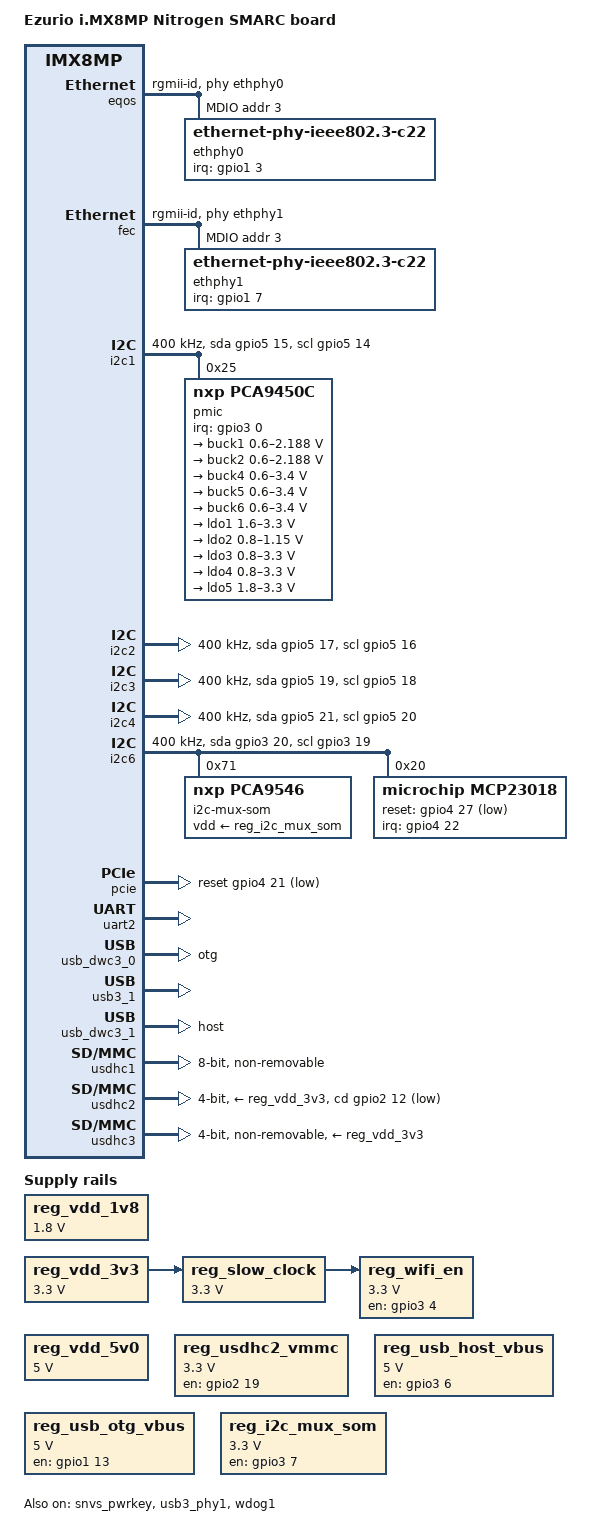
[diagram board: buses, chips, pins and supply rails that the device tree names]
// SPDX-License-Identifier: (GPL-2.0+ OR MIT)
/*
 * Copyright 2023 Ezurio LLC
 */

#include <dt-bindings/phy/phy-imx8-pcie.h>
#include <dt-bindings/usb/pd.h>
#include "imx8mp.dtsi"

/ {
	model = "Ezurio i.MX8MP Nitrogen SMARC board";
	compatible = "summit,imx8mp-nitrogen-smarc", "fsl,imx8mp";

	aliases {
		ethernet0 = &eqos;
		ethernet1 = &fec;
	};

	chosen {
		stdout-path = "serial1:115200n8";
	};

	reg_vdd_1v8: regulator-vdd-1v8 {
		compatible = "regulator-fixed";
		regulator-name = "reg_vdd_1v8";

		regulator-min-microvolt = <1800000>;
		regulator-max-microvolt = <1800000>;
	};

	reg_vdd_3v3: regulator-vdd-3v3 {
		compatible = "regulator-fixed";
		regulator-name = "reg_vdd_3v3";

		regulator-min-microvolt = <3300000>;
		regulator-max-microvolt = <3300000>;
	};

	reg_vdd_5v0: regulator-vdd-5v0 {
		compatible = "regulator-fixed";
		regulator-name = "reg_vdd_5v0";

		regulator-min-microvolt = <5000000>;
		regulator-max-microvolt = <5000000>;
	};

	reg_usdhc2_vmmc: regulator-usdhc2-vmmc {
		compatible = "regulator-fixed";

		regulator-name = "reg_usdhc2_vmmc";

		regulator-min-microvolt = <3300000>;
		regulator-max-microvolt = <3300000>;

		pinctrl-names = "default";
		pinctrl-0 = <&pinctrl_reg_usdhc2_vmmc>;
		gpio = <&gpio2 19 GPIO_ACTIVE_HIGH>;
		enable-active-high;
	};

	reg_usb_host_vbus: regulator-usb-host-vbus {
		compatible = "regulator-fixed";
		regulator-name = "usb_host_vbus";

		regulator-min-microvolt = <5000000>;
		regulator-max-microvolt = <5000000>;

		pinctrl-names = "default";
		pinctrl-0 = <&pinctrl_reg_usb_host_vbus>;
		gpio = <&gpio3 6 GPIO_ACTIVE_HIGH>;
		enable-active-high;
	};

	reg_usb_otg_vbus: regulator-usb-otg-vbus {
		compatible = "regulator-fixed";
		regulator-name = "usb_otg_vbus";

		regulator-min-microvolt = <5000000>;
		regulator-max-microvolt = <5000000>;

		pinctrl-names = "default";
		pinctrl-0 = <&pinctrl_reg_usb_otg_vbus>;
		gpio = <&gpio1 13 GPIO_ACTIVE_HIGH>;
		enable-active-high;
	};

	reg_slow_clock: regulator-slow-clock {
		compatible = "regulator-fixed-clock";
		regulator-name = "reg_slow_clock";

		regulator-min-microvolt = <3300000>;
		regulator-max-microvolt = <3300000>;

		vin-supply = <&reg_vdd_3v3>;

		assigned-clocks = <&clk IMX8MP_CLK_CLKOUT1_SEL>,
			<&clk IMX8MP_CLK_CLKOUT1>;
		assigned-clock-parents = <&clk IMX8MP_CLK_32K>;
		assigned-clock-rates = <0>, <32768>;
		clocks = <&clk IMX8MP_CLK_CLKOUT1>;

		startup-delay-us = <1000>;
	};

	reg_wifi_en: regulator-wifi-en {
		compatible = "regulator-fixed";
		regulator-name = "reg_wifi_en";

		regulator-min-microvolt = <3300000>;
		regulator-max-microvolt = <3300000>;

		vin-supply = <&reg_slow_clock>;

		pinctrl-names = "default";
		pinctrl-0 = <&pinctrl_reg_wifi_en>;
		gpio = <&gpio3 4 GPIO_ACTIVE_HIGH>;
		enable-active-high;
	};

	reg_i2c_mux_som: regulator-i2c-mux-som {
		compatible = "regulator-fixed";

		regulator-name = "reg_i2c_mux_som";
		regulator-min-microvolt = <3300000>;
		regulator-max-microvolt = <3300000>;

		pinctrl-names = "default";
		pinctrl-0 = <&pinctrl_i2c_mux_som>;
		gpio = <&gpio3 7 GPIO_ACTIVE_HIGH>;

		enable-active-high;
	};

	sound-xcvr {
		compatible = "fsl,imx-audio-xcvr";
		model = "imx-audio-xcvr";
		cpu-dai = <&xcvr>;
	};

	display-subsystem {
		status = "disabled";
	};
};

&A53_0 {
	cpu-supply = <&buck2>;
};

&A53_1 {
	cpu-supply = <&buck2>;
};

&A53_2 {
	cpu-supply = <&buck2>;
};

&A53_3 {
	cpu-supply = <&buck2>;
};

&ecspi1 {
	#address-cells = <1>;
	#size-cells = <0>;
	pinctrl-names = "default";
	pinctrl-0 = <&pinctrl_ecspi1>;
	cs-gpios = <&gpio5 9 GPIO_ACTIVE_LOW>, <&gpio1 1 GPIO_ACTIVE_LOW>;
};

&ecspi2 {
	#address-cells = <1>;
	#size-cells = <0>;
	pinctrl-names = "default";
	pinctrl-0 = <&pinctrl_ecspi2>;
	cs-gpios = <&gpio5 13 GPIO_ACTIVE_LOW>, <&gpio4 20 GPIO_ACTIVE_LOW>;
};

&eqos {
	pinctrl-names = "default";
	pinctrl-0 = <&pinctrl_eqos>;

	phy-mode = "rgmii-id";
	phy-handle = <&ethphy0>;

	status = "okay";

	mdio {
		compatible = "snps,dwmac-mdio";

		reset-gpios = <&gpio3 16 GPIO_ACTIVE_LOW>;
		reset-delay-us = <150000>;
		reset-post-delay-us = <100>;

		#address-cells = <1>;
		#size-cells = <0>;

		ethphy0: ethernet-phy@3 {
			reg = <3>;
			compatible = "ethernet-phy-ieee802.3-c22";
			interrupts-extended = <&gpio1 3 IRQ_TYPE_LEVEL_LOW>;
		};
	};
};

&fec {
	pinctrl-names = "default";
	pinctrl-0 = <&pinctrl_fec>;

	phy-mode = "rgmii-id";
	phy-handle = <&ethphy1>;

	status = "okay";

	mdio {
		reset-gpios = <&gpio1 12 GPIO_ACTIVE_LOW>;
		reset-delay-us = <150000>;
		reset-post-delay-us = <100>;

		#address-cells = <1>;
		#size-cells = <0>;

		ethphy1: ethernet-phy@3 {
			reg = <3>;			
			compatible = "ethernet-phy-ieee802.3-c22";
			interrupts-extended = <&gpio1 7 IRQ_TYPE_LEVEL_LOW>;
		};
	};
};

&flexcan1 {
	pinctrl-names = "default";
	pinctrl-0 = <&pinctrl_flexcan1>;
};

&flexcan2 {
	pinctrl-names = "default";
	pinctrl-0 = <&pinctrl_flexcan2>;
};


&i2c1 {
	pinctrl-names = "default", "gpio";
	pinctrl-0 = <&pinctrl_i2c1>;
	pinctrl-1 = <&pinctrl_i2c1_1>;
	scl-gpios = <&gpio5 14 GPIO_OPEN_DRAIN>;
	sda-gpios = <&gpio5 15 GPIO_OPEN_DRAIN>;

	clock-frequency = <400000>;

	status = "okay";

	pmic: pca9450@25 {
		/* PMIC PCA9450  */
		compatible = "nxp,pca9450c";
		reg = <0x25>;

		pinctrl-names = "default";
		pinctrl-0 = <&pinctrl_pmic>;
		interrupts-extended = <&gpio3 0 IRQ_TYPE_LEVEL_LOW>;

		regulators {
			buck1: BUCK1 {
				regulator-name = "BUCK1";
				regulator-min-microvolt = <600000>;
				regulator-max-microvolt = <2187500>;
				regulator-boot-on;
				regulator-always-on;
				regulator-ramp-delay = <3125>;
			};

			buck2: BUCK2 {
				regulator-name = "BUCK2";
				regulator-min-microvolt = <600000>;
				regulator-max-microvolt = <2187500>;
				regulator-limit-microvolt = <1025000>;
				regulator-boot-on;
				regulator-always-on;
				regulator-ramp-delay = <3125>;
				nxp,dvs-run-voltage = <950000>;
				nxp,dvs-standby-voltage = <850000>;
			};

			buck4: BUCK4 {
				regulator-name = "BUCK4";
				regulator-min-microvolt = <600000>;
				regulator-max-microvolt = <3400000>;
				regulator-boot-on;
				regulator-always-on;
			};

			buck5: BUCK5 {
				regulator-name = "BUCK5";
				regulator-min-microvolt = <600000>;
				regulator-max-microvolt = <3400000>;
				regulator-boot-on;
				regulator-always-on;
			};

			buck6: BUCK6 {
				regulator-name = "BUCK6";
				regulator-min-microvolt = <600000>;
				regulator-max-microvolt = <3400000>;
				regulator-boot-on;
				regulator-always-on;
			};

			ldo1: LDO1 {
				regulator-name = "LDO1";
				regulator-min-microvolt = <1600000>;
				regulator-max-microvolt = <3300000>;
				regulator-boot-on;
				regulator-always-on;
			};

			ldo2: LDO2 {
				regulator-name = "LDO2";
				regulator-min-microvolt = <800000>;
				regulator-max-microvolt = <1150000>;
				regulator-boot-on;
				regulator-always-on;
			};

			ldo3: LDO3 {
				regulator-name = "LDO3";
				regulator-min-microvolt = <800000>;
				regulator-max-microvolt = <3300000>;
				regulator-boot-on;
				regulator-always-on;
			};

			ldo4: LDO4 {
				regulator-name = "LDO4";
				regulator-min-microvolt = <800000>;
				regulator-max-microvolt = <3300000>;
				regulator-boot-on;
				regulator-always-on;
			};

			ldo5: LDO5 {
				regulator-name = "LDO5";
				regulator-min-microvolt = <1800000>;
				regulator-max-microvolt = <3300000>;
				regulator-boot-on;
				regulator-always-on;
			};
		};
	};
};

/* I2C_GP */
&i2c2 {
	pinctrl-names = "default", "gpio";
	pinctrl-0 = <&pinctrl_i2c2>;
	pinctrl-1 = <&pinctrl_i2c2_1>;
	scl-gpios = <&gpio5 16 GPIO_OPEN_DRAIN>;
	sda-gpios = <&gpio5 17 GPIO_OPEN_DRAIN>;

	clock-frequency = <400000>;
};

/* I2C_LCD */
&i2c3 {
	pinctrl-names = "default", "gpio";
	pinctrl-0 = <&pinctrl_i2c3>;
	pinctrl-1 = <&pinctrl_i2c3_1>;
	scl-gpios = <&gpio5 18 GPIO_OPEN_DRAIN>;
	sda-gpios = <&gpio5 19 GPIO_OPEN_DRAIN>;

	clock-frequency = <400000>;
};

/* I2C_PM */
&i2c4 {
	pinctrl-names = "default", "gpio";
	pinctrl-0 = <&pinctrl_i2c4>;
	pinctrl-1 = <&pinctrl_i2c4_1>;
	scl-gpios = <&gpio5 20 GPIO_OPEN_DRAIN>;
	sda-gpios = <&gpio5 21 GPIO_OPEN_DRAIN>;

	clock-frequency = <400000>;
};

&i2c6 {
	pinctrl-names = "default", "gpio";
	pinctrl-0 = <&pinctrl_i2c6>;
	pinctrl-1 = <&pinctrl_i2c6_1>;
	scl-gpios = <&gpio3 19 GPIO_OPEN_DRAIN>;
	sda-gpios = <&gpio3 20 GPIO_OPEN_DRAIN>;

	clock-frequency = <400000>;

	status = "okay";

	i2c-mux-som@71 {
		compatible = "nxp,pca9546";
		reg = <0x71>;

		vdd-supply = <&reg_i2c_mux_som>;

		#address-cells = <1>;
		#size-cells = <0>;

		i2c6a: i2c6@0 {
			/* I2C_CAM0 */
			reg = <0>;

			#address-cells = <1>;
			#size-cells = <0>;
		};

		i2c6b: i2c6@1 {
			/* I2C_CAM1 */
			reg = <1>;
			#address-cells = <1>;
			#size-cells = <0>;
		};
	};

	mcp23018: gpio@20 {
		compatible = "microchip,mcp23018";
		reg = <0x20>;
		
		gpio-controller;
		#gpio-cells = <2>;
		
		interrupts-extended = <&gpio4 22 IRQ_TYPE_LEVEL_LOW>;
		interrupt-controller;
		#interrupt-cells = <2>;
		
		microchip,irq-mirror;
		
		pinctrl-names = "default";
		pinctrl-0 = <&pinctrl_i2c6_mcp23018>, <&mcp_pullups>;
		reset-gpios = <&gpio4 27 GPIO_ACTIVE_LOW>;

		mcp_pullups: pinmux {
			pins =  "gpio0", "gpio2", "gpio3",
				"gpio5", "gpio6", "gpio7",
				"gpio8", "gpio9", "gpio10", "gpio11",
				"gpio12", "gpio13", "gpio14", "gpio15";
			bias-pull-up;
		};
	};

};

&iomuxc {
	pinctrl_ecspi1: ecspi1grp {
		fsl,pins = <
			MX8MP_IOMUXC_ECSPI1_SCLK__ECSPI1_SCLK		0x82
			MX8MP_IOMUXC_ECSPI1_MOSI__ECSPI1_MOSI		0x82
			MX8MP_IOMUXC_ECSPI1_MISO__ECSPI1_MISO		0x82
			MX8MP_IOMUXC_ECSPI1_SS0__GPIO5_IO09		0x143
			MX8MP_IOMUXC_GPIO1_IO01__GPIO1_IO01		0x143
		>;
	};

	pinctrl_ecspi2: ecspi2grp {
		fsl,pins = <
			MX8MP_IOMUXC_ECSPI2_SCLK__ECSPI2_SCLK		0x82
			MX8MP_IOMUXC_ECSPI2_MOSI__ECSPI2_MOSI		0x82
			MX8MP_IOMUXC_ECSPI2_MISO__ECSPI2_MISO		0x82
			MX8MP_IOMUXC_ECSPI2_SS0__GPIO5_IO13		0x143
			MX8MP_IOMUXC_SAI1_MCLK__GPIO4_IO20		0x143
		>;
	};

	pinctrl_eqos: eqosgrp {
		fsl,pins = <
			MX8MP_IOMUXC_ENET_MDC__ENET_QOS_MDC		0x0
			MX8MP_IOMUXC_ENET_MDIO__ENET_QOS_MDIO		0xa0
			MX8MP_IOMUXC_ENET_TX_CTL__ENET_QOS_RGMII_TX_CTL	0x1f
			MX8MP_IOMUXC_ENET_TXC__CCM_ENET_QOS_CLOCK_GENERATE_TX_CLK	0x1f
			MX8MP_IOMUXC_ENET_TD0__ENET_QOS_RGMII_TD0	0x1f
			MX8MP_IOMUXC_ENET_TD1__ENET_QOS_RGMII_TD1	0x1f
			MX8MP_IOMUXC_ENET_TD2__ENET_QOS_RGMII_TD2	0x1f
			MX8MP_IOMUXC_ENET_TD3__ENET_QOS_RGMII_TD3	0x1f

			MX8MP_IOMUXC_ENET_RX_CTL__ENET_QOS_RGMII_RX_CTL	0x91
			MX8MP_IOMUXC_ENET_RXC__CCM_ENET_QOS_CLOCK_GENERATE_RX_CLK	0x91
			MX8MP_IOMUXC_ENET_RD0__ENET_QOS_RGMII_RD0	0x91
			MX8MP_IOMUXC_ENET_RD1__ENET_QOS_RGMII_RD1	0x91
			MX8MP_IOMUXC_ENET_RD2__ENET_QOS_RGMII_RD2	0x91
			MX8MP_IOMUXC_ENET_RD3__ENET_QOS_RGMII_RD3	0x91
			MX8MP_IOMUXC_NAND_READY_B__GPIO3_IO16		0x100
			MX8MP_IOMUXC_GPIO1_IO03__GPIO1_IO03		0x140
		>;
	};

	pinctrl_fec: fecgrp {
		fsl,pins = <
			MX8MP_IOMUXC_SAI1_RXD2__ENET1_MDC		0x0
			MX8MP_IOMUXC_SAI1_RXD3__ENET1_MDIO		0xa0
			MX8MP_IOMUXC_SAI1_TXD4__ENET1_RGMII_TX_CTL	0x1f
			MX8MP_IOMUXC_SAI1_TXD5__ENET1_RGMII_TXC		0x1f
			MX8MP_IOMUXC_SAI1_TXD0__ENET1_RGMII_TD0		0x1f
			MX8MP_IOMUXC_SAI1_TXD1__ENET1_RGMII_TD1		0x1f
			MX8MP_IOMUXC_SAI1_TXD2__ENET1_RGMII_TD2		0x1f
			MX8MP_IOMUXC_SAI1_TXD3__ENET1_RGMII_TD3		0x1f

			MX8MP_IOMUXC_SAI1_TXFS__ENET1_RGMII_RX_CTL	0x91
			MX8MP_IOMUXC_SAI1_TXC__ENET1_RGMII_RXC		0x91
			MX8MP_IOMUXC_SAI1_RXD4__ENET1_RGMII_RD0		0x91
			MX8MP_IOMUXC_SAI1_RXD5__ENET1_RGMII_RD1		0x91
			MX8MP_IOMUXC_SAI1_RXD6__ENET1_RGMII_RD2		0x91
			MX8MP_IOMUXC_SAI1_RXD7__ENET1_RGMII_RD3		0x91
			MX8MP_IOMUXC_GPIO1_IO12__GPIO1_IO12		0x100
			MX8MP_IOMUXC_GPIO1_IO07__GPIO1_IO07		0x1c0
		>;
	};

	pinctrl_flexcan1: flexcan1grp {
		fsl,pins = <
			MX8MP_IOMUXC_SAI5_RXD2__CAN1_RX			0x154
			MX8MP_IOMUXC_SAI5_RXD1__CAN1_TX			0x154
		>;
	};

	pinctrl_flexcan2: flexcan2grp {
		fsl,pins = <
			MX8MP_IOMUXC_SAI5_MCLK__CAN2_RX			0x154
			MX8MP_IOMUXC_SAI5_RXD3__CAN2_TX			0x154
		>;
	};

	pinctrl_i2c1: i2c1grp {
		fsl,pins = <
			MX8MP_IOMUXC_I2C1_SCL__I2C1_SCL		0x400001c3
			MX8MP_IOMUXC_I2C1_SDA__I2C1_SDA		0x400001c3
		>;
	};

	pinctrl_i2c1_1: i2c1-1grp {
		fsl,pins = <
			MX8MP_IOMUXC_I2C1_SCL__GPIO5_IO14	0x1c3
			MX8MP_IOMUXC_I2C1_SDA__GPIO5_IO15	0x1c3
		>;
	};

	pinctrl_i2c2: i2c2grp {
		fsl,pins = <
			MX8MP_IOMUXC_I2C2_SCL__I2C2_SCL		0x400001c3
			MX8MP_IOMUXC_I2C2_SDA__I2C2_SDA		0x400001c3
		>;
	};

	pinctrl_i2c2_1: i2c2-1grp {
		fsl,pins = <
			MX8MP_IOMUXC_I2C2_SCL__GPIO5_IO16       0x1c3
			MX8MP_IOMUXC_I2C2_SDA__GPIO5_IO17       0x1c3
		>;
	};

	pinctrl_i2c3: i2c3grp {
		fsl,pins = <
			MX8MP_IOMUXC_I2C3_SCL__I2C3_SCL		0x400001c3
			MX8MP_IOMUXC_I2C3_SDA__I2C3_SDA		0x400001c3
		>;
	};

	pinctrl_i2c3_1: i2c3-1grp {
		fsl,pins = <
			MX8MP_IOMUXC_I2C3_SCL__GPIO5_IO18       0x1c3
			MX8MP_IOMUXC_I2C3_SDA__GPIO5_IO19       0x1c3
		>;
	};

	pinctrl_i2c4: i2c4grp {
		fsl,pins = <
			MX8MP_IOMUXC_I2C4_SCL__I2C4_SCL		0x400001c3
			MX8MP_IOMUXC_I2C4_SDA__I2C4_SDA		0x400001c3
		>;
	};

	pinctrl_i2c4_1: i2c4-1grp {
		fsl,pins = <
			MX8MP_IOMUXC_I2C4_SCL__GPIO5_IO20       0x1c3
			MX8MP_IOMUXC_I2C4_SDA__GPIO5_IO21       0x1c3
		>;
	};

	pinctrl_i2c6: i2c6grp {
		fsl,pins = <
			MX8MP_IOMUXC_SAI5_RXFS__I2C6_SCL	0x400001c3
			MX8MP_IOMUXC_SAI5_RXC__I2C6_SDA		0x400001c3
		>;
	};

	pinctrl_i2c6_1: i2c6-1grp {
		fsl,pins = <
			MX8MP_IOMUXC_SAI5_RXFS__GPIO3_IO19	0x1c3
			MX8MP_IOMUXC_SAI5_RXC__GPIO3_IO20	0x1c3
		>;
	};

	pinctrl_i2c_mux_som: i2c-mux-somgrp {
		fsl,pins = <
			MX8MP_IOMUXC_NAND_DATA01__GPIO3_IO07	0x100
		>;
	};

	pinctrl_i2c6_mcp23018: i2c6-mcp23018grp {
		fsl,pins = <
			MX8MP_IOMUXC_SAI2_RXC__GPIO4_IO22	0x1c0
			MX8MP_IOMUXC_SAI2_MCLK__GPIO4_IO27	0x100
		>;
	};

	pinctrl_pcie: pciegrp {
		fsl,pins = <
			MX8MP_IOMUXC_SAI1_RXFS__GPIO4_IO00	0x1c0
			MX8MP_IOMUXC_SAI2_RXFS__GPIO4_IO21	0x1c0
			MX8MP_IOMUXC_SAI3_RXFS__GPIO4_IO28	0x1c0
		>;
	};

	pinctrl_pmic: pmicirq {
		fsl,pins = <
			MX8MP_IOMUXC_GPIO1_IO14__GPIO1_IO14	0x1c0
		>;
	};

	pinctrl_pwm1: pwm1grp {
		fsl,pins = <
			MX8MP_IOMUXC_SPDIF_EXT_CLK__PWM1_OUT	0x100
		>;
	};

	pinctrl_pwm2: pwm2grp {
		fsl,pins = <
			MX8MP_IOMUXC_SPDIF_RX__PWM2_OUT		0x100
		>;
	};

	pinctrl_reg_usb_otg_vbus: reg-usb-otg-vbusgrp {
		fsl,pins = <
			MX8MP_IOMUXC_GPIO1_IO13__GPIO1_IO13	0x100
		>;
	};

	pinctrl_reg_usb_host_vbus: reg-usb-host-vbusgrp {
		fsl,pins = <
			MX8MP_IOMUXC_NAND_DATA00__GPIO3_IO06	0x100
		>;
	};

	pinctrl_reg_wifi_en: reg-wifi-engrp {
		fsl,pins = <
			MX8MP_IOMUXC_NAND_CE3_B__GPIO3_IO04	0x100
		>;
	};

	pinctrl_sai3: sai3grp {
		fsl,pins = <
			MX8MP_IOMUXC_SAI3_TXFS__AUDIOMIX_SAI3_TX_SYNC	0xd6
			MX8MP_IOMUXC_SAI3_TXC__AUDIOMIX_SAI3_TX_BCLK	0xd6
			MX8MP_IOMUXC_SAI3_RXD__AUDIOMIX_SAI3_RX_DATA00	0xd6
			MX8MP_IOMUXC_SAI3_TXD__AUDIOMIX_SAI3_TX_DATA00	0xd6
			MX8MP_IOMUXC_SAI3_MCLK__AUDIOMIX_SAI3_MCLK	0xd6
		>;
	};

	pinctrl_uart1: uart1grp {
		fsl,pins = <
			MX8MP_IOMUXC_UART1_RXD__UART1_DCE_RX	0x140
			MX8MP_IOMUXC_UART1_TXD__UART1_DCE_TX	0x140
			MX8MP_IOMUXC_UART3_RXD__UART1_DCE_CTS	0x140
			MX8MP_IOMUXC_UART3_TXD__UART1_DCE_RTS	0x140
		>;
	};

	pinctrl_uart2: uart2grp {
		fsl,pins = <
			MX8MP_IOMUXC_UART2_RXD__UART2_DCE_RX	0x140
			MX8MP_IOMUXC_UART2_TXD__UART2_DCE_TX	0x140
		>;
	};

	pinctrl_uart3: uart3grp {
		fsl,pins = <
			MX8MP_IOMUXC_NAND_CE0_B__UART3_DCE_TX	0x140
			MX8MP_IOMUXC_NAND_ALE__UART3_DCE_RX	0x140
		>;
	};

	pinctrl_uart4: uart4grp {
		fsl,pins = <
			MX8MP_IOMUXC_UART4_RXD__UART4_DCE_RX	0x140
			MX8MP_IOMUXC_UART4_TXD__UART4_DCE_TX	0x140
			MX8MP_IOMUXC_NAND_DATA02__UART4_DCE_CTS	0x140
			MX8MP_IOMUXC_NAND_DATA03__UART4_DCE_RTS	0x140
		>;
	};

	pinctrl_usdhc1: usdhc1grp {
		fsl,pins = <
			MX8MP_IOMUXC_SD1_CLK__USDHC1_CLK	0x190
			MX8MP_IOMUXC_SD1_CMD__USDHC1_CMD	0x1d0
			MX8MP_IOMUXC_SD1_DATA0__USDHC1_DATA0	0x1d0
			MX8MP_IOMUXC_SD1_DATA1__USDHC1_DATA1	0x1d0
			MX8MP_IOMUXC_SD1_DATA2__USDHC1_DATA2	0x1d0
			MX8MP_IOMUXC_SD1_DATA3__USDHC1_DATA3	0x1d0
			MX8MP_IOMUXC_SD1_DATA4__USDHC1_DATA4	0x1d0
			MX8MP_IOMUXC_SD1_DATA5__USDHC1_DATA5	0x1d0
			MX8MP_IOMUXC_SD1_DATA6__USDHC1_DATA6	0x1d0
			MX8MP_IOMUXC_SD1_DATA7__USDHC1_DATA7	0x1d0
			MX8MP_IOMUXC_SD1_STROBE__USDHC1_STROBE	0x190
			MX8MP_IOMUXC_SD1_RESET_B__USDHC1_RESET_B 0x140
		>;
	};

	pinctrl_usdhc1_100mhz: usdhc1-100mhzgrp {
		fsl,pins = <
			MX8MP_IOMUXC_SD1_CLK__USDHC1_CLK	0x194
			MX8MP_IOMUXC_SD1_CMD__USDHC1_CMD	0x1d4
			MX8MP_IOMUXC_SD1_DATA0__USDHC1_DATA0	0x1d4
			MX8MP_IOMUXC_SD1_DATA1__USDHC1_DATA1	0x1d4
			MX8MP_IOMUXC_SD1_DATA2__USDHC1_DATA2	0x1d4
			MX8MP_IOMUXC_SD1_DATA3__USDHC1_DATA3	0x1d4
			MX8MP_IOMUXC_SD1_DATA4__USDHC1_DATA4	0x1d4
			MX8MP_IOMUXC_SD1_DATA5__USDHC1_DATA5	0x1d4
			MX8MP_IOMUXC_SD1_DATA6__USDHC1_DATA6	0x1d4
			MX8MP_IOMUXC_SD1_DATA7__USDHC1_DATA7	0x1d4
			MX8MP_IOMUXC_SD1_STROBE__USDHC1_STROBE	0x194
		>;
	};

	pinctrl_usdhc1_200mhz: usdhc1-200mhzgrp {
		fsl,pins = <
			MX8MP_IOMUXC_SD1_CLK__USDHC1_CLK	0x196
			MX8MP_IOMUXC_SD1_CMD__USDHC1_CMD	0x1d6
			MX8MP_IOMUXC_SD1_DATA0__USDHC1_DATA0	0x1d6
			MX8MP_IOMUXC_SD1_DATA1__USDHC1_DATA1	0x1d6
			MX8MP_IOMUXC_SD1_DATA2__USDHC1_DATA2	0x1d6
			MX8MP_IOMUXC_SD1_DATA3__USDHC1_DATA3	0x1d6
			MX8MP_IOMUXC_SD1_DATA4__USDHC1_DATA4	0x1d6
			MX8MP_IOMUXC_SD1_DATA5__USDHC1_DATA5	0x1d6
			MX8MP_IOMUXC_SD1_DATA6__USDHC1_DATA6	0x1d6
			MX8MP_IOMUXC_SD1_DATA7__USDHC1_DATA7	0x1d6
			MX8MP_IOMUXC_SD1_STROBE__USDHC1_STROBE	0x196
		>;
	};

	pinctrl_usdhc2: usdhc2grp {
		fsl,pins = <
			MX8MP_IOMUXC_SD2_CLK__USDHC2_CLK	0x190
			MX8MP_IOMUXC_SD2_CMD__USDHC2_CMD	0x1d0
			MX8MP_IOMUXC_SD2_DATA0__USDHC2_DATA0	0x1d0
			MX8MP_IOMUXC_SD2_DATA1__USDHC2_DATA1	0x1d0
			MX8MP_IOMUXC_SD2_DATA2__USDHC2_DATA2	0x1d0
			MX8MP_IOMUXC_SD2_DATA3__USDHC2_DATA3	0x1d0
			MX8MP_IOMUXC_GPIO1_IO04__USDHC2_VSELECT 0xc0
			MX8MP_IOMUXC_SD2_CD_B__GPIO2_IO12	0x1c4
		>;
	};

	pinctrl_usdhc2_100mhz: usdhc2-100mhzgrp {
		fsl,pins = <
			MX8MP_IOMUXC_SD2_CLK__USDHC2_CLK	0x194
			MX8MP_IOMUXC_SD2_CMD__USDHC2_CMD	0x1d4
			MX8MP_IOMUXC_SD2_DATA0__USDHC2_DATA0	0x1d4
			MX8MP_IOMUXC_SD2_DATA1__USDHC2_DATA1	0x1d4
			MX8MP_IOMUXC_SD2_DATA2__USDHC2_DATA2	0x1d4
			MX8MP_IOMUXC_SD2_DATA3__USDHC2_DATA3	0x1d4
			MX8MP_IOMUXC_GPIO1_IO04__USDHC2_VSELECT 0xc0
			MX8MP_IOMUXC_SD2_CD_B__GPIO2_IO12	0x1c4
		>;
	};

	pinctrl_usdhc2_200mhz: usdhc2-200mhzgrp {
		fsl,pins = <
			MX8MP_IOMUXC_SD2_CLK__USDHC2_CLK	0x196
			MX8MP_IOMUXC_SD2_CMD__USDHC2_CMD	0x1d6
			MX8MP_IOMUXC_SD2_DATA0__USDHC2_DATA0	0x1d6
			MX8MP_IOMUXC_SD2_DATA1__USDHC2_DATA1	0x1d6
			MX8MP_IOMUXC_SD2_DATA2__USDHC2_DATA2	0x1d6
			MX8MP_IOMUXC_SD2_DATA3__USDHC2_DATA3	0x1d6
			MX8MP_IOMUXC_GPIO1_IO04__USDHC2_VSELECT 0xc0
			MX8MP_IOMUXC_SD2_CD_B__GPIO2_IO12	0x1c4
		>;
	};

	pinctrl_usdhc3: usdhc3grp {
		fsl,pins = <
			MX8MP_IOMUXC_NAND_WE_B__USDHC3_CLK	0x190
			MX8MP_IOMUXC_NAND_WP_B__USDHC3_CMD	0x1d0
			MX8MP_IOMUXC_NAND_DATA04__USDHC3_DATA0	0x1d0
			MX8MP_IOMUXC_NAND_DATA05__USDHC3_DATA1	0x1d0
			MX8MP_IOMUXC_NAND_DATA06__USDHC3_DATA2	0x1d0
			MX8MP_IOMUXC_NAND_DATA07__USDHC3_DATA3	0x1d0
		>;
	};

	pinctrl_usdhc3_100mhz: usdhc3-100mhzgrp {
		fsl,pins = <
			MX8MP_IOMUXC_NAND_WE_B__USDHC3_CLK	0x194
			MX8MP_IOMUXC_NAND_WP_B__USDHC3_CMD	0x1d4
			MX8MP_IOMUXC_NAND_DATA04__USDHC3_DATA0	0x1d4
			MX8MP_IOMUXC_NAND_DATA05__USDHC3_DATA1	0x1d4
			MX8MP_IOMUXC_NAND_DATA06__USDHC3_DATA2	0x1d4
			MX8MP_IOMUXC_NAND_DATA07__USDHC3_DATA3	0x1d4
		>;
	};

	pinctrl_usdhc3_200mhz: usdhc3-200mhzgrp {
		fsl,pins = <
			MX8MP_IOMUXC_NAND_WE_B__USDHC3_CLK	0x196
			MX8MP_IOMUXC_NAND_WP_B__USDHC3_CMD	0x1d6
			MX8MP_IOMUXC_NAND_DATA04__USDHC3_DATA0	0x1d6
			MX8MP_IOMUXC_NAND_DATA05__USDHC3_DATA1	0x1d6
			MX8MP_IOMUXC_NAND_DATA06__USDHC3_DATA2	0x1d6
			MX8MP_IOMUXC_NAND_DATA07__USDHC3_DATA3	0x1d6
		>;
	};

	pinctrl_reg_usdhc2_vmmc: reg-usdhc2-vmmcgrp {
		fsl,pins = <
			MX8MP_IOMUXC_SD2_RESET_B__GPIO2_IO19	0x100
		>;
	};

	pinctrl_wdog: wdoggrp {
		fsl,pins = <
			MX8MP_IOMUXC_GPIO1_IO02__WDOG1_WDOG_B	0x140
		>;
	};
};

&pcie {
	assigned-clocks = <&clk IMX8MP_CLK_PCIE_AUX>;
	assigned-clock-parents = <&clk IMX8MP_SYS_PLL2_50M>;
	assigned-clock-rates = <10000000>;
	clocks = <&clk IMX8MP_CLK_HSIO_ROOT>,
		 <&clk IMX8MP_CLK_PCIE_ROOT>,
		 <&clk IMX8MP_CLK_HSIO_AXI>;
	clock-names = "pcie", "pcie_aux", "pcie_bus";
	pinctrl-names = "default";
	pinctrl-0 = <&pinctrl_pcie>;
	reset-gpio = <&gpio4 21 GPIO_ACTIVE_LOW>;
};

&pcie_phy {
	clocks = <&hsio_blk_ctrl>;
	clock-names = "ref";
	fsl,clkreq-unsupported;
	fsl,refclk-pad-mode = <IMX8_PCIE_REFCLK_PAD_OUTPUT>;
};

&pwm1 {
	pinctrl-names = "default";
	pinctrl-0 = <&pinctrl_pwm1>;
};

&pwm2 {
	pinctrl-names = "default";
	pinctrl-0 = <&pinctrl_pwm2>;
};

&mipi_dsi {
	port@1 {
		dsi_out_ep: endpoint {
		};
	};
};

&sai3 {
	pinctrl-names = "default";
	pinctrl-0 = <&pinctrl_sai3>;
	fsl,sai-mclk-direction-output;
};

&sdma2 {
	status = "okay";
};

&snvs_pwrkey {
	status = "okay";
};

&uart1 { /* BT */
	pinctrl-names = "default";
	pinctrl-0 = <&pinctrl_uart1>;

	assigned-clocks = <&clk IMX8MP_CLK_UART1>;
	assigned-clock-parents = <&clk IMX8MP_SYS_PLL1_80M>;

	uart-has-rtscts;
};

/* SER1 */
&uart2 { /* Debug Console */
	pinctrl-names = "default";
	pinctrl-0 = <&pinctrl_uart2>;

	status = "okay";
};

/* SER2 */
&uart3 {
	pinctrl-names = "default";
	pinctrl-0 = <&pinctrl_uart3>;

	assigned-clocks = <&clk IMX8MP_CLK_UART3>;
	assigned-clock-parents = <&clk IMX8MP_SYS_PLL1_80M>;
};

/* SER0 */
&uart4 {
	pinctrl-names = "default";
	pinctrl-0 = <&pinctrl_uart4>;

	assigned-clocks = <&clk IMX8MP_CLK_UART4>;
	assigned-clock-parents = <&clk IMX8MP_SYS_PLL1_80M>;

	uart-has-rtscts;
};

&usb3_phy0 {
	vbus-supply = <&reg_usb_otg_vbus>;
	fsl,phy-tx-preemp-amp-tune-microamp = <2>;
};

&usb3_0 {
	disable-over-current;
};

&usb_dwc3_0 {
	dr_mode = "otg";
};

&usb3_phy1 {
	vbus-supply = <&reg_usb_host_vbus>;
	fsl,phy-tx-preemp-amp-tune-microamp = <2>;
	status = "okay";
};

&usb3_1 {
	status = "okay";
};

&usb_dwc3_1 {
	dr_mode = "host";
};

&usdhc1 {
	non-removable;
	pinctrl-names = "default", "state_100mhz", "state_200mhz";
	pinctrl-0 = <&pinctrl_usdhc1>;
	pinctrl-1 = <&pinctrl_usdhc1_100mhz>;
	pinctrl-2 = <&pinctrl_usdhc1_200mhz>;

	bus-width = <8>;

	status = "okay";
};

&usdhc2 {
	pinctrl-names = "default", "state_100mhz", "state_200mhz";
	pinctrl-0 = <&pinctrl_usdhc2>;
	pinctrl-1 = <&pinctrl_usdhc2_100mhz>;
	pinctrl-2 = <&pinctrl_usdhc2_200mhz>;

	vmmc-supply = <&reg_vdd_3v3>;
	cd-gpios = <&gpio2 12 GPIO_ACTIVE_LOW>;

	bus-width = <4>;
};

&usdhc3 {
	pinctrl-names = "default", "state_100mhz", "state_200mhz";
	pinctrl-0 = <&pinctrl_usdhc3>;
	pinctrl-1 = <&pinctrl_usdhc3_100mhz>;
	pinctrl-2 = <&pinctrl_usdhc3_200mhz>;
	bus-width = <4>;

	vmmc-supply = <&reg_vdd_3v3>;

	keep-power-in-suspend;
	non-removable;
};

&wdog1 {
	pinctrl-names = "default";
	pinctrl-0 = <&pinctrl_wdog>;
	fsl,ext-reset-output;

	status = "okay";
};
